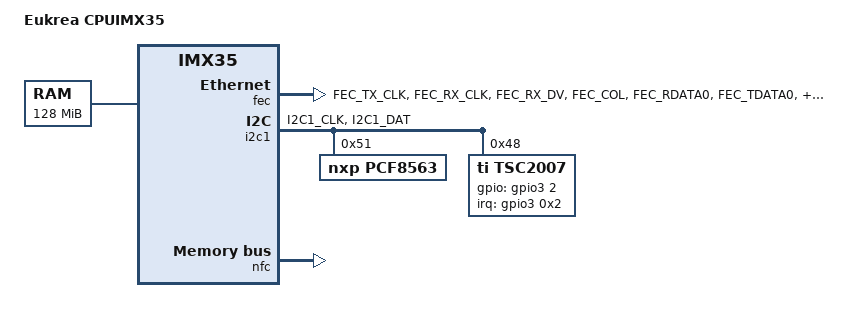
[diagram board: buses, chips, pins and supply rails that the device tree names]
FASTVC-BENCH-CORPUS:linux-main-100k-v1-e0bd41dc-8e12-4f1b-978d-a3645ae59da0
/* bench 10729.0.0 164b1ce33a02 */
/* bench 10729.0.1 85c0da293f2c */
/* bench 10729.0.2 123b00979149 */
/* bench 10729.0.3 1b2d8364eb36 */
/* bench 10729.0.4 1808875f81a4 */
/* bench 10729.0.5 7dc4bd61e0fa */
/* bench 10729.0.6 95db0a8628be */
/* bench 10729.0.7 7d7a8b0cf76f */
/* bench 10729.0.8 4bd68e6f9130 */
/* bench 10729.0.9 36784973edf3 */
/* bench 10729.0.10 5caad1ee0189 */
/* bench 10729.0.11 19ca20a030d2 */
/* bench 10729.0.12 06052cabcd90 */
/* bench 10729.0.13 d9ac6c85fcc5 */
 * Copyright 2013 Eukréa Electromatique <denis@eukrea.com>
 */

#include "imx35.dtsi"

/ {
	model = "Eukrea CPUIMX35";
	compatible = "eukrea,cpuimx35", "fsl,imx35";

	memory@80000000 {
		device_type = "memory";
		reg = <0x80000000 0x8000000>; /* 128M */
	};
};

&fec {
	pinctrl-names = "default";
	pinctrl-0 = <&pinctrl_fec>;
	status = "okay";
};

&i2c1 {
/* bench 18691.0.0 b9bf77785a3d */
/* bench 18691.0.1 f61572f44e64 */
/* bench 18691.0.2 ff59d56fa8bc */
/* bench 18691.0.3 4eed7125901e */
/* bench 18691.0.4 9a0d62c3e9da */
/* bench 18691.0.5 712c26c9cdb3 */
/* bench 18691.0.6 b15ac333232e */
/* bench 18691.0.7 a22dfe4f3828 */
/* bench 18691.0.8 8845a1288c08 */
/* bench 18691.0.9 32bc6413c340 */
/* bench 18691.0.10 594b5255ae4b */
/* bench 18691.0.11 2026aed752ba */
/* bench 18691.0.12 f61aa723b377 */
/* bench 18691.0.13 8e6f634a843a */
	pinctrl-0 = <&pinctrl_i2c1>;
	status = "okay";

	pcf8563@51 {
		compatible = "nxp,pcf8563";
		reg = <0x51>;
	};

	tsc2007: tsc2007@48 {
		compatible = "ti,tsc2007";
		gpios = <&gpio3 2 0>;
		interrupt-parent = <&gpio3>;
		interrupts = <0x2 0x8>;
		pinctrl-names = "default";
		pinctrl-0 = <&pinctrl_tsc2007_1>;
		reg = <0x48>;
		ti,x-plate-ohms = <180>;
	};
};

&iomuxc {
	imx35-eukrea {
		pinctrl_fec: fecgrp {
			fsl,pins = <
				MX35_PAD_FEC_TX_CLK__FEC_TX_CLK		0x80000000
				MX35_PAD_FEC_RX_CLK__FEC_RX_CLK		0x80000000
				MX35_PAD_FEC_RX_DV__FEC_RX_DV		0x80000000
				MX35_PAD_FEC_COL__FEC_COL		0x80000000
				MX35_PAD_FEC_RDATA0__FEC_RDATA_0	0x80000000
				MX35_PAD_FEC_TDATA0__FEC_TDATA_0	0x80000000
				MX35_PAD_FEC_TX_EN__FEC_TX_EN		0x80000000
				MX35_PAD_FEC_MDC__FEC_MDC		0x80000000
				MX35_PAD_FEC_MDIO__FEC_MDIO		0x80000000
				MX35_PAD_FEC_TX_ERR__FEC_TX_ERR		0x80000000
				MX35_PAD_FEC_RX_ERR__FEC_RX_ERR		0x80000000
				MX35_PAD_FEC_CRS__FEC_CRS		0x80000000
				MX35_PAD_FEC_RDATA1__FEC_RDATA_1	0x80000000
				MX35_PAD_FEC_TDATA1__FEC_TDATA_1	0x80000000
				MX35_PAD_FEC_RDATA2__FEC_RDATA_2	0x80000000
				MX35_PAD_FEC_TDATA2__FEC_TDATA_2	0x80000000
				MX35_PAD_FEC_RDATA3__FEC_RDATA_3	0x80000000
				MX35_PAD_FEC_TDATA3__FEC_TDATA_3	0x80000000
			>;
		};

		pinctrl_i2c1: i2c1grp {
			fsl,pins = <
				MX35_PAD_I2C1_CLK__I2C1_SCL		0x80000000
				MX35_PAD_I2C1_DAT__I2C1_SDA		0x80000000
			>;
		};

		pinctrl_tsc2007_1: tsc2007grp-1 {
			fsl,pins = <MX35_PAD_ATA_DA2__GPIO3_2 0x80000000>;
		};
	};
/* bench 25061.0.0 902d96f8a079 */
/* bench 25061.0.1 0ca46a7f8847 */
/* bench 25061.0.2 568ef178bf43 */
/* bench 25061.0.3 436ebc5332f6 */
/* bench 25061.0.4 fbcf563dad3e */
/* bench 25061.0.5 6fc505f63758 */
/* bench 25061.0.6 5c06a4b5c9d9 */
/* bench 28112.0.0 8d96d20e8bd7 */
/* bench 28112.0.1 145b4f98d489 */
/* bench 28112.0.2 25fa1ca68de0 */
/* bench 28112.0.3 eab3efc17919 */
/* bench 28112.0.4 1784a9e975a8 */
/* bench 28112.0.5 ce1fc4b174bc */
};

&nfc {
	nand-bus-width = <8>;
	nand-ecc-mode = "hw";
	nand-on-flash-bbt;
	status = "okay";
};
